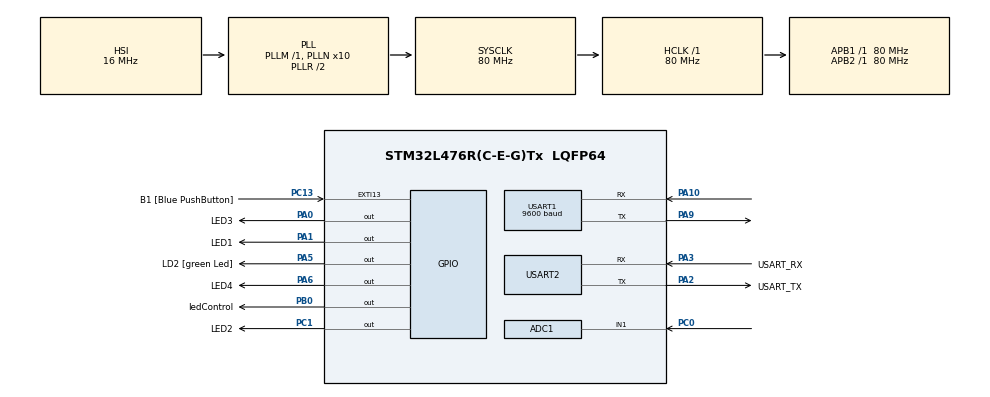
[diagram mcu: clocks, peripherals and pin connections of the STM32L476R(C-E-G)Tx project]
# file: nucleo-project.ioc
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ADC1.Channel-0\#ChannelRegularConversion=ADC_CHANNEL_1
ADC1.NbrOfConversionFlag=1
ADC1.OffsetNumber-0\#ChannelRegularConversion=ADC_OFFSET_NONE
ADC1.Rank-0\#ChannelRegularConversion=1
ADC1.SamplingTime-0\#ChannelRegularConversion=ADC_SAMPLETIME_640CYCLES_5
ADC1.master=1
Mcu.Family=STM32L4
Mcu.Name=STM32L476R(C-E-G)Tx
Mcu.Package=LQFP64
NVIC.PriorityGroup=NVIC_PRIORITYGROUP_4
NVIC.USART1_IRQn=true\:0\:0\:false\:false\:true\:true\:true\:true
PA0.GPIO_Label=LED3
PA0.Signal=GPIO_Output
PA1.GPIO_Label=LED1
PA1.Signal=GPIO_Output
PA10.Mode=Asynchronous
PA10.Signal=USART1_RX
PA13\ (JTMS-SWDIO).GPIO_Label=TMS
PA13\ (JTMS-SWDIO).Mode=Serial_Wire
PA13\ (JTMS-SWDIO).Signal=SYS_JTMS-SWDIO
PA14\ (JTCK-SWCLK).GPIO_Label=TCK
PA14\ (JTCK-SWCLK).Mode=Serial_Wire
PA14\ (JTCK-SWCLK).Signal=SYS_JTCK-SWCLK
PA2.GPIO_Label=USART_TX
PA2.GPIO_Mode=GPIO_MODE_AF_PP
PA2.GPIO_PuPd=GPIO_NOPULL
PA2.GPIO_Speed=GPIO_SPEED_FREQ_VERY_HIGH
PA2.Mode=Asynchronous
PA2.Signal=USART2_TX
PA3.GPIO_Label=USART_RX
PA3.GPIO_Mode=GPIO_MODE_AF_PP
PA3.GPIO_PuPd=GPIO_NOPULL
PA3.GPIO_Speed=GPIO_SPEED_FREQ_VERY_HIGH
PA3.Mode=Asynchronous
PA3.Signal=USART2_RX
PA5.GPIO_Label=LD2 [green Led]
PA5.GPIO_ModeDefaultOutputPP=GPIO_MODE_OUTPUT_PP
PA5.GPIO_PuPd=GPIO_NOPULL
PA5.GPIO_Speed=GPIO_SPEED_FREQ_LOW
PA5.Signal=GPIO_Output
PA6.GPIO_Label=LED4
PA6.Signal=GPIO_Output
PA9.Mode=Asynchronous
PA9.Signal=USART1_TX
PB0.GPIO_Label=ledControl
PB0.Signal=GPIO_Output
PB3\ (JTDO-TRACESWO).GPIO_Label=SWO
PB3\ (JTDO-TRACESWO).Signal=SYS_JTDO-SWO
PC0.Signal=ADCx_IN1
PC1.GPIO_Label=LED2
PC1.Signal=GPIO_Output
PC13.GPIO_Label=B1 [Blue PushButton]
PC13.GPIO_ModeDefaultEXTI=GPIO_MODE_IT_FALLING
PC13.GPIO_PuPd=GPIO_NOPULL
PC13.Signal=GPXTI13
PC14-OSC32_IN\ (PC14).Mode=LSE-External-Oscillator
PC14-OSC32_IN\ (PC14).Signal=RCC_OSC32_IN
PC15-OSC32_OUT\ (PC15).Mode=LSE-External-Oscillator
PC15-OSC32_OUT\ (PC15).Signal=RCC_OSC32_OUT
PH0-OSC_IN\ (PH0).Signal=RCC_OSC_IN
PH1-OSC_OUT\ (PH1).Signal=RCC_OSC_OUT
ProjectManager.HeapSize=0x200
ProjectManager.StackSize=0x400
ProjectManager.TargetToolchain=Makefile
RCC.ADCFreq_Value=64000000
RCC.AHBFreq_Value=80000000
RCC.APB1Freq_Value=80000000
RCC.APB1TimFreq_Value=80000000
RCC.APB2Freq_Value=80000000
RCC.APB2TimFreq_Value=80000000
RCC.CortexFreq_Value=80000000
RCC.HCLKFreq_Value=80000000
RCC.HSE_VALUE=8000000
RCC.HSI_VALUE=16000000
RCC.MSI_VALUE=4000000
RCC.PLLN=10
RCC.PLLSourceVirtual=RCC_PLLSOURCE_HSI
RCC.PREFETCH_ENABLE=1
RCC.SYSCLKFreq_VALUE=80000000
RCC.SYSCLKSource=RCC_SYSCLKSOURCE_PLLCLK
RCC.USBFreq_Value=64000000
RCC.VCOOutputFreq_Value=160000000
SH.ADCx_IN1.0=ADC1_IN1,IN1-Single-Ended
USART1.BaudRate=9600
USART1.VirtualMode-Asynchronous=VM_ASYNC
USART2.VirtualMode-Asynchronous=VM_ASYNC
board=NUCLEO-L476RG

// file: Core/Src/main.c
/* USER CODE BEGIN Header */
/**
  ******************************************************************************
  * @file           : main.c
  * @brief          : Main program body
  ******************************************************************************
  * @attention
  *
  * Copyright (c) 2022 STMicroelectronics.
  * All rights reserved.
  *
  * This software is licensed under terms that can be found in the LICENSE file
  * in the root directory of this software component.
  * If no LICENSE file comes with this software, it is provided AS-IS.
  *
  ******************************************************************************
  */
/* USER CODE END Header */
#include "main.h"

/* USER CODE BEGIN Includes */

#include <stdbool.h>
#include <stdio.h>
#include <string.h>

/* USER CODE END Includes */

ADC_HandleTypeDef hadc1;

UART_HandleTypeDef huart1;
UART_HandleTypeDef huart2;

void SystemClock_Config(void);
static void MX_GPIO_Init(void);
static void MX_USART2_UART_Init(void);
static void MX_USART1_UART_Init(void);
static void MX_ADC1_Init(void);

/* USER CODE BEGIN 0 */

/**
  * @brief Number of leds handled by bluetooth module.
  */
#define numOfLeds 4

/**
  * @brief Data received from bluetooth module.
  */
uint8_t rxData;

/**
  * @brief Led number and port.
  */
struct led {
  GPIO_TypeDef *ledPort;
  uint16_t led;
};

/**
  * @brief Leds handled by bluetooth module and their ports.
  */
struct led leds[numOfLeds] = {{LED1_GPIO_Port, LED1_Pin},\
                              {LED2_GPIO_Port, LED2_Pin},\
                              {LED3_GPIO_Port, LED3_Pin},\
                              {LED4_GPIO_Port, LED4_Pin}};

/**
  * @brief Stores led indices corresponding to possible @f$rxData@f$ values.
  */
uint8_t ledIdx[numOfLeds * 2] = {0, 0, 1, 1, 2, 2, 3, 3};

/**
  * @brief  Given @f$rxData@f$ decide, if led should be turned on or off.
  * @param  None
  * @retval Aprropriate led pin state.
  */
static GPIO_PinState changeState() {
  if (rxData % 2 == 0)
    return GPIO_PIN_SET;
  return GPIO_PIN_RESET;
}

/**
  * @brief  Change appropriate led state (according to @f$rxData@f$).
  * @param  None
  * @retval None
  */
static void handleLedLight() {
  int idx = ledIdx[rxData];
  HAL_GPIO_WritePin(leds[idx].ledPort, leds[idx].led, changeState());
}

/**
  * @param  None
  * @retval Is @f$rxData@f$ value correct?
  */
static bool validateRxData() {
  return rxData < numOfLeds * 2;
}

/**
  * @brief  @f$rxData@f$ convertion from char to int.
  * @param  None
  * @retval None
  */
static void convertData() {
  rxData -= '0';
}

/**
  * @brief  Error handling for invalid RxData.
  * @param  None
  * @retval None
  */
static void handleDataError() {
  HAL_GPIO_WritePin(LD2_GPIO_Port, LD2_Pin, GPIO_PIN_SET);
}

/**
  * @brief  Rx Transfer completed callback.
  * @param  huart UART handle.
  * @retval None
  */
void HAL_UART_RxCpltCallback(UART_HandleTypeDef *huart) {
  if (huart->Instance == USART1) {
    convertData();
    if (validateRxData()) {
      handleLedLight();
    }
    else {
      handleDataError();
    }
    HAL_UART_Receive_IT(&huart1, &rxData, 1);
  }
}

/* USER CODE END 0 */

int main(void)
{

  /* MCU Configuration--------------------------------------------------------*/

  /* Reset of all peripherals, Initializes the Flash interface and the Systick. */
  HAL_Init();

  /* Configure the system clock */
  SystemClock_Config();

  /* Initialize all configured peripherals */
  MX_GPIO_Init();
  MX_USART2_UART_Init();
  MX_USART1_UART_Init();
  MX_ADC1_Init();

  /* USER CODE BEGIN 2 */

  HAL_UART_Receive_IT(&huart1, &rxData, 1);
  HAL_ADCEx_Calibration_Start(&hadc1, ADC_SINGLE_ENDED);

  /* USER CODE END 2 */

  /* Infinite loop */
  /* USER CODE BEGIN WHILE */
  while (1) {
    HAL_ADC_Start(&hadc1);
    HAL_ADC_PollForConversion(&hadc1, HAL_MAX_DELAY);

    uint32_t value = HAL_ADC_GetValue(&hadc1);
    float voltage = 3300.0f * value / 4096.0f;
    uint32_t voltageScaled = (uint32_t) (voltage * 255 / 3300);
    uint8_t dataToSend = (uint8_t) voltageScaled;

    HAL_UART_Transmit(&huart1, &dataToSend, 1, HAL_MAX_DELAY);
    HAL_GPIO_TogglePin(ledControl_GPIO_Port, ledControl_Pin);

    HAL_Delay(500);

    /* USER CODE END WHILE */

  }
}

void SystemClock_Config(void)
{
  RCC_OscInitTypeDef RCC_OscInitStruct = {0};
  RCC_ClkInitTypeDef RCC_ClkInitStruct = {0};

  /** Configure the main internal regulator output voltage
  */
  if (HAL_PWREx_ControlVoltageScaling(PWR_REGULATOR_VOLTAGE_SCALE1) != HAL_OK)
  {
    Error_Handler();
  }

  /** Initializes the RCC Oscillators according to the specified parameters
  * in the RCC_OscInitTypeDef structure.
  */
  RCC_OscInitStruct.OscillatorType = RCC_OSCILLATORTYPE_HSI;
  RCC_OscInitStruct.HSIState = RCC_HSI_ON;
  RCC_OscInitStruct.HSICalibrationValue = RCC_HSICALIBRATION_DEFAULT;
  RCC_OscInitStruct.PLL.PLLState = RCC_PLL_ON;
  RCC_OscInitStruct.PLL.PLLSource = RCC_PLLSOURCE_HSI;
  RCC_OscInitStruct.PLL.PLLM = 1;
  RCC_OscInitStruct.PLL.PLLN = 10;
  RCC_OscInitStruct.PLL.PLLP = RCC_PLLP_DIV7;
  RCC_OscInitStruct.PLL.PLLQ = RCC_PLLQ_DIV2;
  RCC_OscInitStruct.PLL.PLLR = RCC_PLLR_DIV2;
  if (HAL_RCC_OscConfig(&RCC_OscInitStruct) != HAL_OK)
  {
    Error_Handler();
  }

  /** Initializes the CPU, AHB and APB buses clocks
  */
  RCC_ClkInitStruct.ClockType = RCC_CLOCKTYPE_HCLK|RCC_CLOCKTYPE_SYSCLK
                              |RCC_CLOCKTYPE_PCLK1|RCC_CLOCKTYPE_PCLK2;
  RCC_ClkInitStruct.SYSCLKSource = RCC_SYSCLKSOURCE_PLLCLK;
  RCC_ClkInitStruct.AHBCLKDivider = RCC_SYSCLK_DIV1;
  RCC_ClkInitStruct.APB1CLKDivider = RCC_HCLK_DIV1;
  RCC_ClkInitStruct.APB2CLKDivider = RCC_HCLK_DIV1;

  if (HAL_RCC_ClockConfig(&RCC_ClkInitStruct, FLASH_LATENCY_4) != HAL_OK)
  {
    Error_Handler();
  }
}

static void MX_ADC1_Init(void)
{

  ADC_MultiModeTypeDef multimode = {0};
  ADC_ChannelConfTypeDef sConfig = {0};

  /** Common config
  */
  hadc1.Instance = ADC1;
  hadc1.Init.ClockPrescaler = ADC_CLOCK_ASYNC_DIV1;
  hadc1.Init.Resolution = ADC_RESOLUTION_12B;
  hadc1.Init.DataAlign = ADC_DATAALIGN_RIGHT;
  hadc1.Init.ScanConvMode = ADC_SCAN_DISABLE;
  hadc1.Init.EOCSelection = ADC_EOC_SINGLE_CONV;
  hadc1.Init.LowPowerAutoWait = DISABLE;
  hadc1.Init.ContinuousConvMode = DISABLE;
  hadc1.Init.NbrOfConversion = 1;
  hadc1.Init.DiscontinuousConvMode = DISABLE;
  hadc1.Init.ExternalTrigConv = ADC_SOFTWARE_START;
  hadc1.Init.ExternalTrigConvEdge = ADC_EXTERNALTRIGCONVEDGE_NONE;
  hadc1.Init.DMAContinuousRequests = DISABLE;
  hadc1.Init.Overrun = ADC_OVR_DATA_PRESERVED;
  hadc1.Init.OversamplingMode = DISABLE;
  if (HAL_ADC_Init(&hadc1) != HAL_OK)
  {
    Error_Handler();
  }

  /** Configure the ADC multi-mode
  */
  multimode.Mode = ADC_MODE_INDEPENDENT;
  if (HAL_ADCEx_MultiModeConfigChannel(&hadc1, &multimode) != HAL_OK)
  {
    Error_Handler();
  }

  /** Configure Regular Channel
  */
  sConfig.Channel = ADC_CHANNEL_1;
  sConfig.Rank = ADC_REGULAR_RANK_1;
  sConfig.SamplingTime = ADC_SAMPLETIME_640CYCLES_5;
  sConfig.SingleDiff = ADC_SINGLE_ENDED;
  sConfig.OffsetNumber = ADC_OFFSET_NONE;
  sConfig.Offset = 0;
  if (HAL_ADC_ConfigChannel(&hadc1, &sConfig) != HAL_OK)
  {
    Error_Handler();
  }

}

static void MX_USART1_UART_Init(void)
{

  huart1.Instance = USART1;
  huart1.Init.BaudRate = 9600;
  huart1.Init.WordLength = UART_WORDLENGTH_8B;
  huart1.Init.StopBits = UART_STOPBITS_1;
  huart1.Init.Parity = UART_PARITY_NONE;
  huart1.Init.Mode = UART_MODE_TX_RX;
  huart1.Init.HwFlowCtl = UART_HWCONTROL_NONE;
  huart1.Init.OverSampling = UART_OVERSAMPLING_16;
  huart1.Init.OneBitSampling = UART_ONE_BIT_SAMPLE_DISABLE;
  huart1.AdvancedInit.AdvFeatureInit = UART_ADVFEATURE_NO_INIT;
  if (HAL_UART_Init(&huart1) != HAL_OK)
  {
    Error_Handler();
  }

}

static void MX_USART2_UART_Init(void)
{

  huart2.Instance = USART2;
  huart2.Init.BaudRate = 115200;
  huart2.Init.WordLength = UART_WORDLENGTH_8B;
  huart2.Init.StopBits = UART_STOPBITS_1;
  huart2.Init.Parity = UART_PARITY_NONE;
  huart2.Init.Mode = UART_MODE_TX_RX;
  huart2.Init.HwFlowCtl = UART_HWCONTROL_NONE;
  huart2.Init.OverSampling = UART_OVERSAMPLING_16;
  huart2.Init.OneBitSampling = UART_ONE_BIT_SAMPLE_DISABLE;
  huart2.AdvancedInit.AdvFeatureInit = UART_ADVFEATURE_NO_INIT;
  if (HAL_UART_Init(&huart2) != HAL_OK)
  {
    Error_Handler();
  }

}

static void MX_GPIO_Init(void)
{
  GPIO_InitTypeDef GPIO_InitStruct = {0};

  /* GPIO Ports Clock Enable */
  __HAL_RCC_GPIOC_CLK_ENABLE();
  __HAL_RCC_GPIOH_CLK_ENABLE();
  __HAL_RCC_GPIOA_CLK_ENABLE();
  __HAL_RCC_GPIOB_CLK_ENABLE();

  /*Configure GPIO pin Output Level */
  HAL_GPIO_WritePin(LED2_GPIO_Port, LED2_Pin, GPIO_PIN_RESET);

  /*Configure GPIO pin Output Level */
  HAL_GPIO_WritePin(GPIOA, LED3_Pin|LED1_Pin|LD2_Pin|LED4_Pin, GPIO_PIN_RESET);

  /*Configure GPIO pin Output Level */
  HAL_GPIO_WritePin(ledControl_GPIO_Port, ledControl_Pin, GPIO_PIN_RESET);

  /*Configure GPIO pin : B1_Pin */
  GPIO_InitStruct.Pin = B1_Pin;
  GPIO_InitStruct.Mode = GPIO_MODE_IT_FALLING;
  GPIO_InitStruct.Pull = GPIO_NOPULL;
  HAL_GPIO_Init(B1_GPIO_Port, &GPIO_InitStruct);

  /*Configure GPIO pin : LED2_Pin */
  GPIO_InitStruct.Pin = LED2_Pin;
  GPIO_InitStruct.Mode = GPIO_MODE_OUTPUT_PP;
  GPIO_InitStruct.Pull = GPIO_NOPULL;
  GPIO_InitStruct.Speed = GPIO_SPEED_FREQ_LOW;
  HAL_GPIO_Init(LED2_GPIO_Port, &GPIO_InitStruct);

  /*Configure GPIO pins : LED3_Pin LED1_Pin LD2_Pin LED4_Pin */
  GPIO_InitStruct.Pin = LED3_Pin|LED1_Pin|LD2_Pin|LED4_Pin;
  GPIO_InitStruct.Mode = GPIO_MODE_OUTPUT_PP;
  GPIO_InitStruct.Pull = GPIO_NOPULL;
  GPIO_InitStruct.Speed = GPIO_SPEED_FREQ_LOW;
  HAL_GPIO_Init(GPIOA, &GPIO_InitStruct);

  /*Configure GPIO pin : ledControl_Pin */
  GPIO_InitStruct.Pin = ledControl_Pin;
  GPIO_InitStruct.Mode = GPIO_MODE_OUTPUT_PP;
  GPIO_InitStruct.Pull = GPIO_NOPULL;
  GPIO_InitStruct.Speed = GPIO_SPEED_FREQ_LOW;
  HAL_GPIO_Init(ledControl_GPIO_Port, &GPIO_InitStruct);

}

void Error_Handler(void)
{
  __disable_irq();
  while (1)
  {
  }
}
